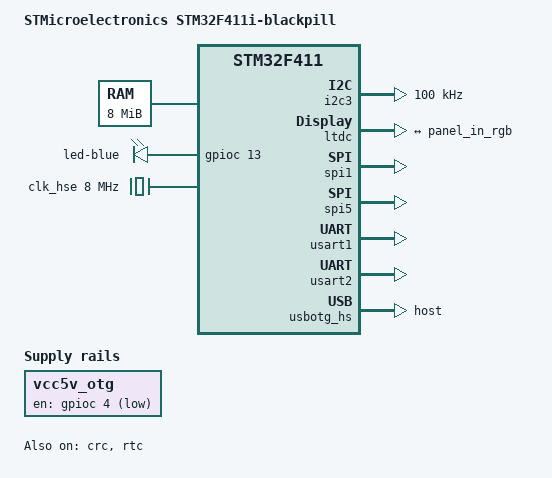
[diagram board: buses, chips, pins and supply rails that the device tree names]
/*
 * Copyright 2015 - Maxime Coquelin <mcoquelin.stm32@gmail.com>
 *
 * This file is dual-licensed: you can use it either under the terms
 * of the GPL or the X11 license, at your option. Note that this dual
 * licensing only applies to this file, and not this project as a
 * whole.
 *
 *  a) This file is free software; you can redistribute it and/or
 *     modify it under the terms of the GNU General Public License as
 *     published by the Free Software Foundation; either version 2 of the
 *     License, or (at your option) any later version.
 *
 *     This file is distributed in the hope that it will be useful,
 *     but WITHOUT ANY WARRANTY; without even the implied warranty of
 *     MERCHANTABILITY or FITNESS FOR A PARTICULAR PURPOSE.  See the
 *     GNU General Public License for more details.
 *
 *     You should have received a copy of the GNU General Public
 *     License along with this file; if not, write to the Free
 *     Software Foundation, Inc., 51 Franklin St, Fifth Floor, Boston,
 *     MA 02110-1301 USA
 *
 * Or, alternatively,
 *
 *  b) Permission is hereby granted, free of charge, to any person
 *     obtaining a copy of this software and associated documentation
 *     files (the "Software"), to deal in the Software without
 *     restriction, including without limitation the rights to use,
 *     copy, modify, merge, publish, distribute, sublicense, and/or
 *     sell copies of the Software, and to permit persons to whom the
 *     Software is furnished to do so, subject to the following
 *     conditions:
 *
 *     The above copyright notice and this permission notice shall be
 *     included in all copies or substantial portions of the Software.
 *
 *     THE SOFTWARE IS PROVIDED "AS IS", WITHOUT WARRANTY OF ANY KIND,
 *     EXPRESS OR IMPLIED, INCLUDING BUT NOT LIMITED TO THE WARRANTIES
 *     OF MERCHANTABILITY, FITNESS FOR A PARTICULAR PURPOSE AND
 *     NONINFRINGEMENT. IN NO EVENT SHALL THE AUTHORS OR COPYRIGHT
 *     HOLDERS BE LIABLE FOR ANY CLAIM, DAMAGES OR OTHER LIABILITY,
 *     WHETHER IN AN ACTION OF CONTRACT, TORT OR OTHERWISE, ARISING
 *     FROM, OUT OF OR IN CONNECTION WITH THE SOFTWARE OR THE USE OR
 *     OTHER DEALINGS IN THE SOFTWARE.
 */

/dts-v1/;
#include "stm32f411.dtsi"
#include "stm32f411-pinctrl.dtsi"
#include <dt-bindings/input/input.h>
#include <dt-bindings/interrupt-controller/irq.h>
#include <dt-bindings/gpio/gpio.h>

/ {
	model = "STMicroelectronics STM32F411i-blackpill";
	compatible = "st,stm32f411i-disco", "st,stm32f411";

	chosen {
		bootargs = "root=/dev/ram0 rw console=ttySTM0,115200";
		stdout-path = "serial0:115200n8";
	};

	memory@90000000 {
		device_type = "memory";
		reg = <0x90000000 0x800000>;
	};

	aliases {
		serial0 = &usart1;
	};

	leds {
		compatible = "gpio-leds";
		led-blue {
			gpios = <&gpioc 13 0>;
			linux,default-trigger = "heartbeat";
		};
	};

	//gpio_keys {
	//	compatible = "gpio-keys";
	//	#address-cells = <1>;
	//	#size-cells = <0>;
	//	autorepeat;
	//	button@0 {
	//		label = "User";
	//		linux,code = <KEY_HOME>;
	//		gpios = <&gpioa 0 0>;
	//	};
	//};

	/* This turns on vbus for otg for host mode (dwc2) */
	vcc5v_otg: vcc5v-otg-regulator {
		compatible = "regulator-fixed";
		gpio = <&gpioc 4 0>;
		regulator-name = "vcc5_host1";
		regulator-always-on;
	};
};

&clk_hse {
	clock-frequency = <8000000>;
};

&crc {
	status = "okay";
};

&i2c3 {
	pinctrl-names = "default";
	pinctrl-0 = <&i2c3_pins>;
	clock-frequency = <100000>;
	status = "okay";
};

&ltdc {
	status = "okay";
	pinctrl-0 = <&ltdc_pins_b>;
	pinctrl-names = "default";

	port {
		ltdc_out_rgb: endpoint {
			remote-endpoint = <&panel_in_rgb>;
		};
	};
};

&rtc {
	assigned-clocks = <&rcc 1 CLK_RTC>;
	assigned-clock-parents = <&rcc 1 CLK_LSI>;
	status = "okay";
};

&spi1 {
	status = "okay";
	pinctrl-0 = <&spi1_pins>;
	pinctrl-names = "default";
	#address-cells = <1>;
	#size-cells = <0>;
	cs-gpios = <&gpioa 4 GPIO_ACTIVE_LOW>;
};

&spi5 {
	status = "okay";
	pinctrl-0 = <&spi5_pins>;
	pinctrl-names = "default";
	#address-cells = <1>;
	#size-cells = <0>;
	cs-gpios = <&gpioc 1 GPIO_ACTIVE_LOW>, <&gpioc 2 GPIO_ACTIVE_LOW>;
};

&usart1 {
	pinctrl-0 = <&usart1_pins_a>;
	pinctrl-names = "default";
	status = "okay";
};

&usart2 {
	pinctrl-0 = <&usart2_pins_a>;
	pinctrl-names = "default";
	status = "okay";
};

&usbotg_hs {
	compatible = "st,stm32f4x9-fsotg";
	dr_mode = "host";
	pinctrl-0 = <&usbotg_fs_pins_b>;
	pinctrl-names = "default";
	status = "okay";
};
